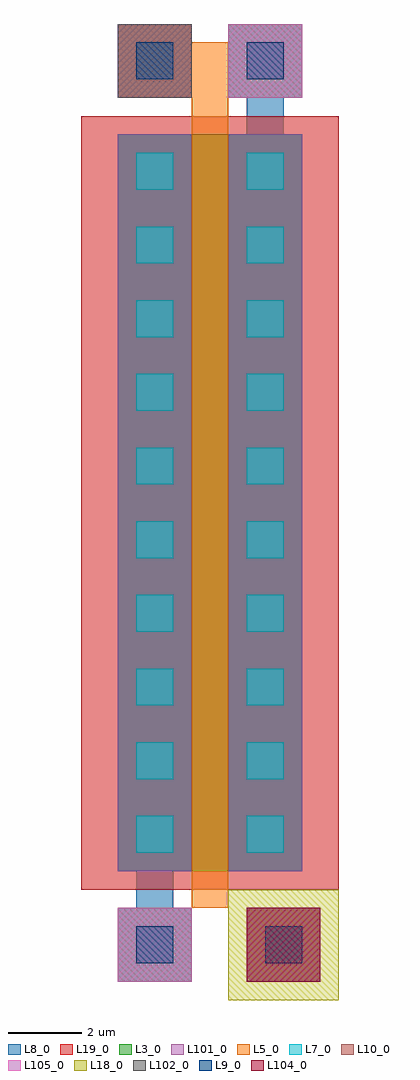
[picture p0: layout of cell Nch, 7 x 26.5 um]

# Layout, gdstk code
import gdstk
lib = gdstk.Library(unit=1e-6, precision=1e-09)
def R(c, l, rs):  # rectangles x0, y0, x1, y1
    for r in rs: c.add(gdstk.rectangle(r[:2], r[2:], *l))
L3_0 = (3, 0)
L5_0 = (5, 0)
L7_0 = (7, 0)
L8_0 = (8, 0)
L9_0 = (9, 0)
L10_0 = (10, 0)
L18_0 = (18, 0)
L19_0 = (19, 0)
L101_0 = (101, 0)
L102_0 = (102, 0)
L104_0 = (104, 0)
L105_0 = (105, 0)

dcont_2 = lib.new_cell('dcont$2')
R(dcont_2, L3_0, [(-0.5,-0.5,0.5,0.5)])
R(dcont_2, L7_0, [(-0.5,-0.5,0.5,0.5)])
R(dcont_2, L8_0, [(-1,-1,1,1)])
R(dcont_2, L101_0, [(-1,-1,1,1)])
dcont_2.add(gdstk.Label('dcont', (0,0), layer=13, texttype=0))

pcont_1 = lib.new_cell('pcont$1')
R(pcont_1, L5_0, [(-1,-1,1,1)])
R(pcont_1, L7_0, [(-0.5,-0.5,0.5,0.5)])
R(pcont_1, L8_0, [(-1,-1,1,1)])
R(pcont_1, L102_0, [(-1,-1,1,1)])
pcont_1.add(gdstk.Label('pcont', (0,0), layer=13, texttype=0))

via_1 = lib.new_cell('Via$1')
R(via_1, L8_0, [(-1,-1,1,1)])
R(via_1, L9_0, [(-0.5,-0.5,0.5,0.5)])
R(via_1, L10_0, [(-1,-1,1,1)])
R(via_1, L105_0, [(-1,-1,1,1)])
via_1.add(gdstk.Label('via', (0,0), layer=13, texttype=0))

psubcont_1 = lib.new_cell('psubcont$1')
R(psubcont_1, L104_0, [(-1,-1,1,1)])
psubcont_1.add(gdstk.Reference(dcont_2, (0,0)))
psubcont_1.add(gdstk.Label('PScon', (0,0), layer=13, texttype=0))

nch = lib.new_cell('Nch')
R(nch, L3_0, [(0,3,5,23)])
R(nch, L18_0, [(3,-0.5,6,2.5)])
R(nch, L19_0, [(-1,2.5,6,23.5)])
nch.add(gdstk.FlexPath([(1,3),(1,23)], 2, ends="flush", simple_path=True, layer=8, datatype=0))  # L8_0
nch.add(gdstk.FlexPath([(4,3),(4,23)], 2, ends="flush", simple_path=True, layer=8, datatype=0))  # L8_0
nch.add(gdstk.FlexPath([(1,1),(1,4)], 1, ends="flush", simple_path=True, layer=8, datatype=0))  # L8_0
nch.add(gdstk.FlexPath([(4,23),(4,26)], 1, ends="flush", simple_path=True, layer=8, datatype=0))  # L8_0
nch.add(gdstk.FlexPath([(2.5,3),(2.5,23)], 1, ends=(1, 1), simple_path=True, layer=5, datatype=0))  # L5_0
nch.add(gdstk.FlexPath([(1,25),(2.5,25),(2.5,24)], 1, ends="flush", simple_path=True, layer=5, datatype=0))  # L5_0
nch.add(gdstk.Reference(dcont_2, (1,4)))
nch.add(gdstk.Reference(dcont_2, (1,6)))
nch.add(gdstk.Reference(dcont_2, (1,8)))
nch.add(gdstk.Reference(dcont_2, (1,10)))
nch.add(gdstk.Reference(dcont_2, (1,12)))
nch.add(gdstk.Reference(dcont_2, (1,14)))
nch.add(gdstk.Reference(dcont_2, (1,16)))
nch.add(gdstk.Reference(dcont_2, (1,18)))
nch.add(gdstk.Reference(dcont_2, (1,20)))
nch.add(gdstk.Reference(dcont_2, (1,22)))
nch.add(gdstk.Reference(dcont_2, (4,4)))
nch.add(gdstk.Reference(dcont_2, (4,6)))
nch.add(gdstk.Reference(dcont_2, (4,8)))
nch.add(gdstk.Reference(dcont_2, (4,10)))
nch.add(gdstk.Reference(dcont_2, (4,12)))
nch.add(gdstk.Reference(dcont_2, (4,14)))
nch.add(gdstk.Reference(dcont_2, (4,16)))
nch.add(gdstk.Reference(dcont_2, (4,18)))
nch.add(gdstk.Reference(dcont_2, (4,20)))
nch.add(gdstk.Reference(dcont_2, (4,22)))
nch.add(gdstk.Reference(pcont_1, (1,25)))
nch.add(gdstk.Reference(via_1, (1,25)))
nch.add(gdstk.Reference(via_1, (1,1)))
nch.add(gdstk.Reference(via_1, (4,25)))
nch.add(gdstk.Reference(psubcont_1, (4.5,1)))
nch.add(gdstk.Reference(via_1, (4.5,1)))

lib.write_gds('Nch.gds')
